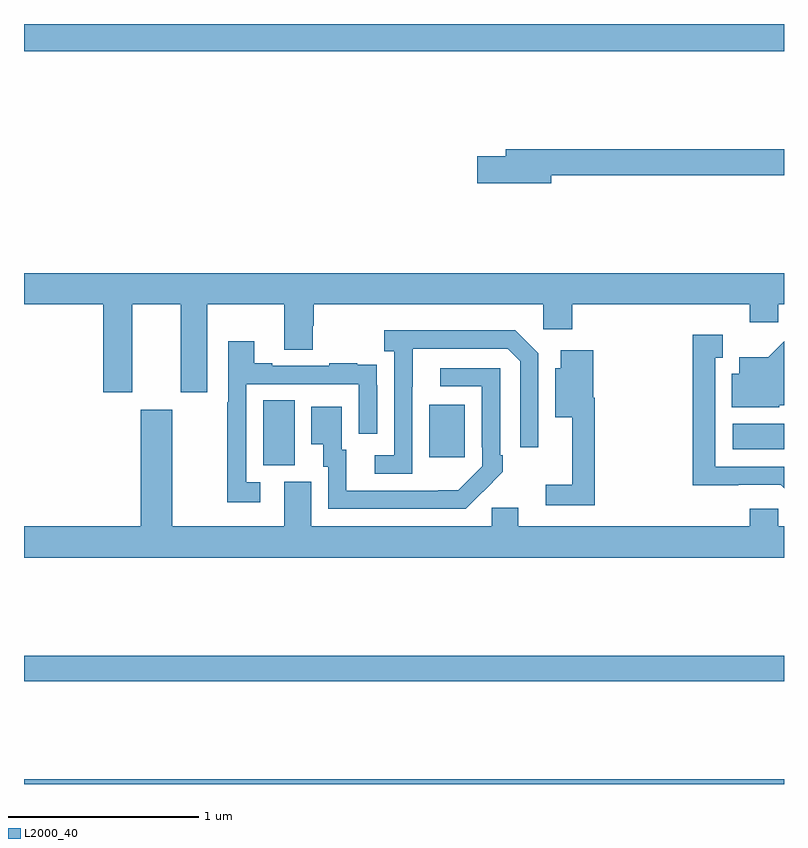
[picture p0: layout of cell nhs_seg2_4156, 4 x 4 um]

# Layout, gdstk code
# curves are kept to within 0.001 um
import gdstk
lib = gdstk.Library(unit=1e-6, precision=1e-09)
def R(c, l, rs):  # rectangles x0, y0, x1, y1
    for r in rs: c.add(gdstk.rectangle(r[:2], r[2:], *l))
def P(c, l, *ps):  # polygons
    for p in ps: c.add(gdstk.Polygon(p, *l))
L2000_40 = (2000, 40)

nhs_seg2_4156 = lib.new_cell('nhs_seg2_4156')
R(nhs_seg2_4156, L2000_40, [(335,623.8,339,623.824), (335,624.34,339,624.476), (336.26,625.477,336.424,625.82), (337.133,625.521,337.321,625.795), (338.73,625.562,339,625.696), (335,627.656,339,627.8)])
P(nhs_seg2_4156, L2000_40, [(337.774,627.004),(339,627.004),(339,627.14),(337.535,627.14),(337.535,627.104),(337.386,627.104),(337.386,626.962),(337.774,626.962)],
  [(335.569,626.324),(335.825,626.324),(335.825,625.863),(335.965,625.863),(335.965,626.324),(336.371,626.324),(336.371,626.086),(336.519,626.086),(336.519,626.211),(336.524,626.211),(336.524,626.324),(337.734,626.324),(337.734,626.193),(337.886,626.193),(337.886,626.324),(338.819,626.324),(338.819,626.229),(338.97,626.229),(338.97,626.324),(339,626.324),(339,626.488),(335,626.488),(335,626.324),(335.417,626.324),(335.417,625.863),(335.569,625.863)],
  [(337.044,625.891),(337.045,626.091),(337.545,626.091),(337.611,626.025),(337.611,625.572),(337.707,625.572),(337.707,626.067),(337.586,626.188),(336.897,626.188),(336.897,626.078),(336.948,626.078),(336.948,625.53),(336.846,625.53),(336.846,625.434),(337.044,625.434)],
  [(339,625.47),(338.638,625.47),(338.638,626.043),(338.677,626.043),(338.677,626.164),(338.52,626.164),(338.52,625.373),(338.76,625.373),(338.76,625.374),(338.982,625.374),(339,625.356)],
  [(336.244,625.389),(336.171,625.389),(336.171,625.905),(336.762,625.905),(336.762,625.644),(336.858,625.644),(336.858,625.898),(336.857,625.898),(336.857,626.007),(336.755,626.007),(336.755,626.014),(336.607,626.014),(336.607,626.001),(336.307,626.001),(336.307,626.014),(336.211,626.014),(336.211,626.131),(336.075,626.131),(336.075,625.808),(336.07,625.808),(336.07,625.284),(336.244,625.284)],
  [(338.976,625.793),(339,625.793),(339,626.129),(338.917,626.047),(338.765,626.047),(338.765,625.96),(338.726,625.96),(338.726,625.784),(338.976,625.784)],
  [(338.003,625.834),(337.997,625.834),(337.997,626.083),(337.826,626.083),(337.826,625.987),(337.796,625.987),(337.796,625.73),(337.886,625.73),(337.886,625.375),(337.746,625.375),(337.746,625.266),(338.003,625.266)],
  [(337.415,625.339),(337.416,625.338),(337.521,625.443),(337.521,625.531),(337.506,625.531),(337.506,625.989),(337.191,625.989),(337.191,625.893),(337.41,625.893),(337.41,625.573),(337.413,625.573),(337.413,625.473),(337.285,625.345),(336.697,625.344),(336.697,625.56),(336.673,625.56),(336.673,625.786),(336.512,625.786),(336.512,625.589),(336.575,625.589),(336.575,625.47),(336.6,625.47),(336.6,625.248),(337.324,625.248)],
  [(339,625.156),(338.97,625.156),(338.97,625.249),(338.819,625.249),(338.819,625.156),(337.6,625.156),(337.6,625.254),(337.461,625.254),(337.461,625.156),(336.511,625.156),(336.511,625.392),(336.371,625.392),(336.371,625.156),(335.779,625.156),(335.779,625.771),(335.615,625.771),(335.615,625.156),(335,625.156),(335,624.992),(339,624.992)])

lib.write_gds('nhs_seg2_4156.gds')
